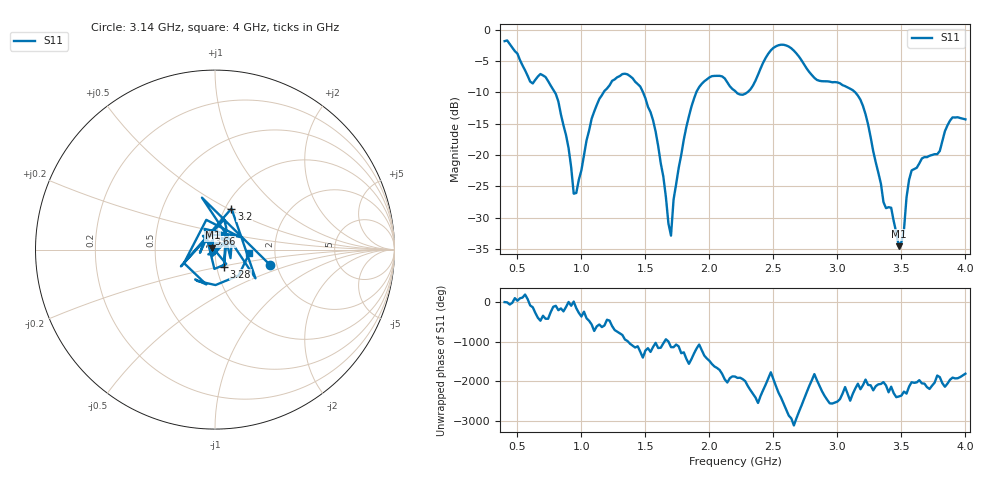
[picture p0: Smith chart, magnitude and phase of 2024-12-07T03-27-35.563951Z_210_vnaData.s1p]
!Created with skrf (http://scikit-rf.org).
# Hz S RI R 50.0
!freq ReS11 ImS11
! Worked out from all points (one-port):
!   181 points, 400 MHz to 4 GHz, reference 50 ohm
!   lowest |S11| = -34.6 dB at 3.48 GHz (marker M1), VSWR 1.04, Z = 48.5 + j1.09 ohm
!   |S11| at or under -10 dB: 793.1 MHz to 1.173 GHz (379.7 MHz wide, 38.6 % of centre); 1.482 GHz to 1.897 GHz (415.3 MHz wide, 24.6 % of centre); 3.14 GHz to end of sweep (the widest 3 of 4)
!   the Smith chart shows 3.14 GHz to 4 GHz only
!   S11 on the Smith chart (normalised r, x): 3.14 GHz: 1.84, -0.34; 3.2 GHz: 1.07, +0.52; 3.28 GHz: 1.08, -0.21; 3.66 GHz: 0.92, +0.16; 4 GHz: 1.47, -0.06
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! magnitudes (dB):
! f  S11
! 400 MHz  -1.8
! 600 MHz  -8.3
! 720 MHz  -7.5
! 860 MHz  -15.3
! 940 MHz  -26.2
! 960 MHz  -26.1
! 1.1 GHz  -13.0
! 1.3 GHz  -7.4
! 1.46 GHz  -9.1
! 1.54 GHz  -13.1
! 1.7 GHz  -32.9
! 1.76 GHz  -22.1
! 1.92 GHz  -9.1
! 2.2 GHz  -9.7
! 2.32 GHz  -9.5
! 2.5 GHz  -2.9
! 2.66 GHz  -3.3
! 2.84 GHz  -8.0
! 3.1 GHz  -9.4
! 3.14 GHz  -10.0
! 3.2 GHz  -12.2
! 3.28 GHz  -19.4
! 3.48 GHz  -34.6
! 3.52 GHz  -32.0
! 3.56 GHz  -24.0
! 3.66 GHz  -20.6
! 3.9 GHz  -14.0
! 4 GHz  -14.3
